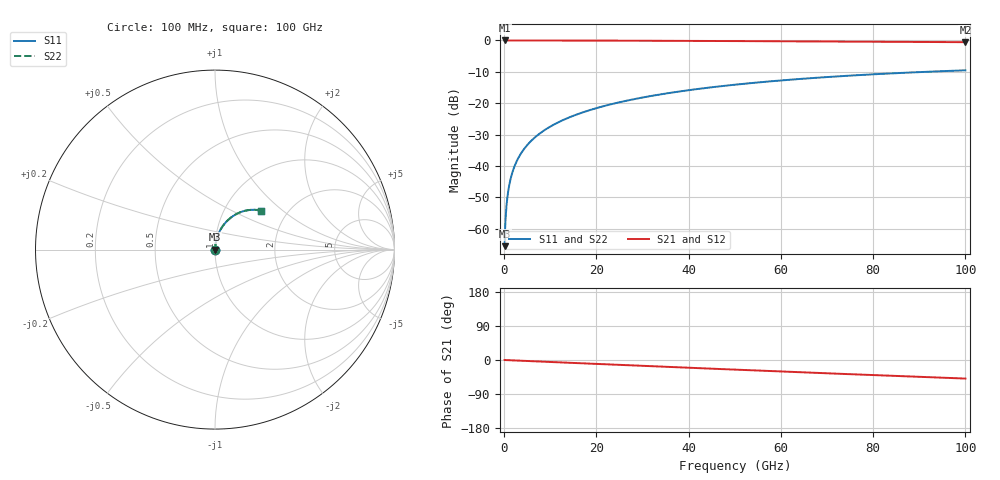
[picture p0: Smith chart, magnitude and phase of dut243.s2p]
! Touchstone file exported from HFSS 2026.1.0
!  File:  C:/ffzhzh/LocalFiles/Ansys_Project_Files/temp_train_TSV_243_1783508215_9504.aedt
!  Generated:  06:58:14 PM Jul  8, 2026
!  Design:  TSV
!  Project:  temp_train_TSV_243_1783508215_9504
! Variables:
!  h_bsmrdl = 2um
!  h_ox = 20um
!  h_rdl = 5um
!  h_sub = 87.61um
!  h_tmrdl = 5um
!  h_tsv = 87.61um
!  h_via = 3um
!  l_bsmrdl = 300um
!  l_sub = 413.44um
!  l_tmrdl = 200um
!  m_sub = 200um
!  pitch = 55.96um
!  r_tsv = 6.72um
!  s_tmrdl = 10um
!  w_bsmrdl = 18um
!  w_sub = 500um
!  w_tmrdl = 12um
!  x_tsv_center1 = 206um
!  x_tsv_center2 = 524um
!  x_tsv_center3 = 736um
!  x_tsv_center4 = 1054um
!  x_tsv_center5 = 1266um
!  x_tsv_center6 = 1584um
# GHz S MA R 50.000000
! Terminal data exported
! Port[1] = TSV1_1_T1
! Port[2] = TSV1_1_T2
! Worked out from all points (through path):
!   1000 points, 100 MHz to 100 GHz, reference 50 ohm
!   highest |S21| = 0.00 dB at 100 MHz (marker M1); lowest = -0.5 dB at 100 GHz (marker M2)
!   group delay of S21, straight-line fit = 1.36 ps
!   lowest |S11| = -65.5 dB at 100 MHz (marker M3), VSWR 1.00, Z = 50 + j0.0466 ohm
!   |S11| at or under -10 dB: start of sweep to 91.23 GHz
!   |S22| runs from -65.5 to -9.5 dB; largest |S21 - S12| = 3.3e-15
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0.1  0.0005311 61.3  0.9997 -0.1  0.9997 -0.1  0.0005311 61.3
! Gamma 0 0 0 0
! Port Impedance 50 0 50 0
0.3  0.00141 78.3  0.9997 -0.2  0.9997 -0.2  0.00141 78.3
0.7  0.003185 83.5  0.9997 -0.4  0.9997 -0.4  0.003185 83.5
0.8  0.003627 83.9  0.9996 -0.4  0.9996 -0.4  0.003627 83.9
1  0.004508 84.6  0.9996 -0.5  0.9996 -0.5  0.004508 84.6
1.3  0.005825 85.1  0.9996 -0.7  0.9996 -0.7  0.005825 85.1
1.7  0.007568 85.4  0.9995 -0.9  0.9995 -0.9  0.007568 85.4
2.3  0.01016 85.5  0.9994 -1.2  0.9994 -1.2  0.01016 85.5
3  0.01314 85.4  0.9992 -1.6  0.9992 -1.6  0.01314 85.4
3.8  0.01653 85.3  0.9991 -2.0  0.9991 -2.0  0.01653 85.3
4.8  0.02075 85.0  0.9989 -2.5  0.9989 -2.5  0.02075 85.0
6  0.0258 84.7  0.9987 -3.1  0.9987 -3.1  0.0258 84.7
8.8  0.03754 83.6  0.9981 -4.6  0.9981 -4.6  0.03754 83.6
12.4  0.05251 82.0  0.9972 -6.4  0.9972 -6.4  0.05251 82.0
16.8  0.07062 80.0  0.9958 -8.7  0.9958 -8.7  0.07062 80.0
24.2  0.1006 76.4  0.993 -12.5  0.993 -12.5  0.1006 76.4
33.4  0.1366 71.9  0.9883 -17.1  0.9883 -17.1  0.1366 71.9
41.2  0.166 68.1  0.9836 -21.0  0.9836 -21.0  0.166 68.1
50.1  0.1978 63.8  0.9775 -25.4  0.9775 -25.4  0.1978 63.8
66.7  0.2516 55.8  0.9647 -33.5  0.9647 -33.5  0.2516 55.8
83.4  0.2977 48.1  0.9513 -41.4  0.9513 -41.4  0.2977 48.0
100  0.3345 40.5  0.9387 -49.0  0.9387 -49.0  0.3345 40.5
